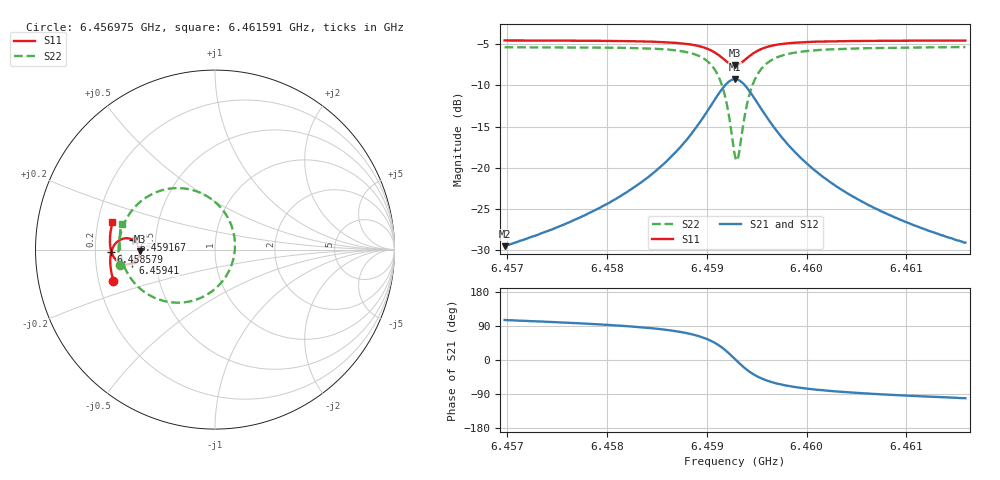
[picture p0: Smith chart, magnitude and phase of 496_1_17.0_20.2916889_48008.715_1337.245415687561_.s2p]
#  HZ  S  RI  R  50.00
! Rohde & Schwarz Vector Network Analyzer
! Rohde-Schwarz,ZNB20-2Port,1311601062101988,3.16
! Created: UTC 3/20/2024, 11:14:17 PM
! freq[Hz]  re:S11  im:S11  re:S21  im:S21  re:S12  im:S12  re:S22  im:S22
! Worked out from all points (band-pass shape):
!   401 points, 6.456975 GHz to 6.461591 GHz, reference 50 ohm
!   highest |S21| = -9.25 dB at 6.459283 GHz (marker M1); lowest = -29.5 dB at 6.456975 GHz (marker M2)
!   |S21| within 3 dB of the highest: 6.459052 GHz to 6.459513 GHz (461.3 kHz wide, 0.00714 % of centre)
!   lowest |S11| = -7.6 dB at 6.459283 GHz (marker M3), VSWR 2.44, Z = 20.5 - j0.491 ohm
!   |S11| at or under -10 dB: nowhere
!   |S22| runs from -19.1 to -5.4 dB; largest |S21 - S12| = 0.014
!   S11 on the Smith chart (normalised r, x): 6.456975 GHz: 0.26, -0.14; 6.458579 GHz: 0.27, -0.01; 6.459167 GHz: 0.37, +0.05; 6.45941 GHz: 0.37, -0.07; 6.461591 GHz: 0.26, +0.12
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6.4569745e9  -0.5666 -0.1723  -0.00897 0.0322  -0.00713 0.0323  -0.5317 -0.085
6.4577477e9  -0.5807 -0.1049  -0.00578 0.0501  -0.00317 0.0496  -0.5373 0.00513
6.4581863e9  -0.5837 -0.0608  0.000488 0.0703  0.00381 0.0689  -0.5287 0.0747
6.4585209e9  -0.5798 -0.0208  0.0141 0.0984  0.018 0.0956  -0.504 0.1501
6.4585786e9  -0.5781 -0.013  0.0183 0.1054  0.0225 0.1022  -0.4959 0.1667
6.4587863e9  -0.5649 0.0192  0.0458 0.1376  0.05 0.1327  -0.4444 0.2394
6.4589364e9  -0.5425 0.0454  0.0909 0.168  0.0943 0.1613  -0.3613 0.3039
6.4590749e9  -0.4989 0.0632  0.1778 0.1846  0.1787 0.1771  -0.2027 0.3428
6.4591672e9  -0.4545 0.0529  0.2673 0.1535  0.2677 0.1476  -0.0365 0.2928
6.4592133e9  -0.4334 0.0342  0.311 0.1107  0.3123 0.1055  0.0464 0.2166
6.4592826e9  -0.4186 -0.00988  0.3443 0.0143  0.3478 0.00732  0.1112 0.0373
6.4592941e9  -0.4191 -0.0179  0.344 -0.00368  0.3478 -0.0111  0.1109 0.00364
6.4593172e9  -0.4226 -0.0333  0.3385 -0.0382  0.3423 -0.0473  0.0999 -0.062
6.4593634e9  -0.438 -0.0594  0.3101 -0.0979  0.3122 -0.1097  0.0425 -0.1751
6.4594095e9  -0.4601 -0.0757  0.2681 -0.139  0.2673 -0.152  -0.0423 -0.2497
6.4595018e9  -0.5035 -0.0823  0.1836 -0.1697  0.1774 -0.1814  -0.2109 -0.2957
6.4596519e9  -0.547 -0.0618  0.0958 -0.1561  0.0875 -0.1623  -0.3782 -0.2463
6.4598134e9  -0.5685 -0.0343  0.0511 -0.1283  0.0435 -0.1311  -0.4583 -0.1745
6.4600558e9  -0.581 0.00135  0.0221 -0.0969  0.0163 -0.0974  -0.5061 -0.0922
6.460402e9  -0.5856 0.0425  0.00613 -0.0701  0.00215 -0.0697  -0.5275 -0.0132
6.460829e9  -0.5835 0.0853  -0.00148 -0.0517  -0.00436 -0.0508  -0.5317 0.0549
6.4615906e9  -0.5712 0.1526  -0.00658 -0.0345  -0.00828 -0.0335  -0.5202 0.1447
